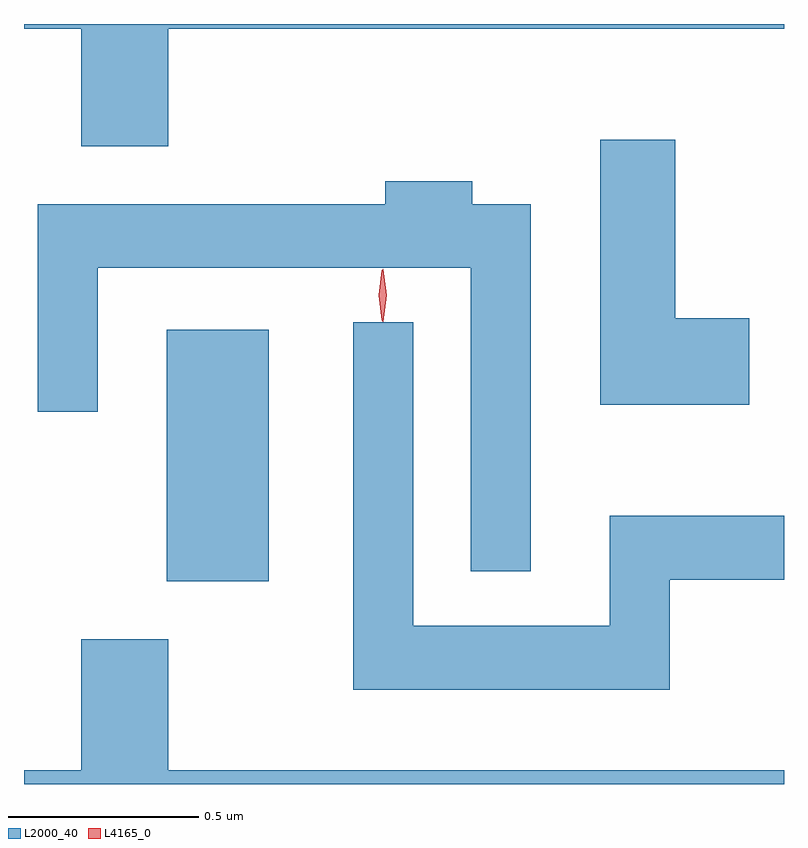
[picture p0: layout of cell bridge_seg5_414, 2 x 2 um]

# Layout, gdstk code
import gdstk
lib = gdstk.Library(unit=1e-6, precision=1e-09)
def R(c, l, rs):  # rectangles x0, y0, x1, y1
    for r in rs: c.add(gdstk.rectangle(r[:2], r[2:], *l))
def P(c, l, *ps):  # polygons
    for p in ps: c.add(gdstk.Polygon(p, *l))
L2000_40 = (2000, 40)
L4165_0 = (4165, 0)

bridge_seg5_414 = lib.new_cell('bridge_seg5_414')
R(bridge_seg5_414, L2000_40, [(489.066,1488.641,489.334,1489.304)])
P(bridge_seg5_414, L2000_40, [(489.069,1490.096),(490.69,1490.096),(490.69,1490.108),(488.69,1490.108),(488.69,1490.096),(488.841,1490.096),(488.841,1489.786),(489.069,1489.786)],
  [(490.599,1489.334),(490.404,1489.334),(490.404,1489.804),(490.206,1489.804),(490.206,1489.106),(490.599,1489.106)],
  [(490.024,1489.634),(489.869,1489.634),(489.869,1489.694),(489.641,1489.694),(489.641,1489.634),(488.726,1489.634),(488.726,1489.088),(488.884,1489.088),(488.884,1489.466),(489.866,1489.466),(489.866,1488.668),(490.024,1488.668)],
  [(490.389,1488.646),(490.69,1488.646),(490.69,1488.814),(490.231,1488.814),(490.231,1488.524),(489.714,1488.524),(489.714,1489.323),(489.556,1489.323),(489.556,1488.356),(490.389,1488.356)],
  [(488.841,1488.489),(488.841,1488.144),(488.69,1488.144),(488.69,1488.108),(490.69,1488.108),(490.69,1488.144),(489.069,1488.144),(489.069,1488.489)])
P(bridge_seg5_414, L4165_0, [(489.634,1489.324),(489.625,1489.394),(489.634,1489.462),(489.635,1489.463),(489.636,1489.462),(489.645,1489.394),(489.636,1489.324),(489.635,1489.324)],
  [(489.633,1489.327),(489.632,1489.328),(489.623,1489.394),(489.632,1489.46),(489.632,1489.46),(489.633,1489.46),(489.642,1489.394),(489.633,1489.328)])

lib.write_gds('bridge_seg5_414.gds')
